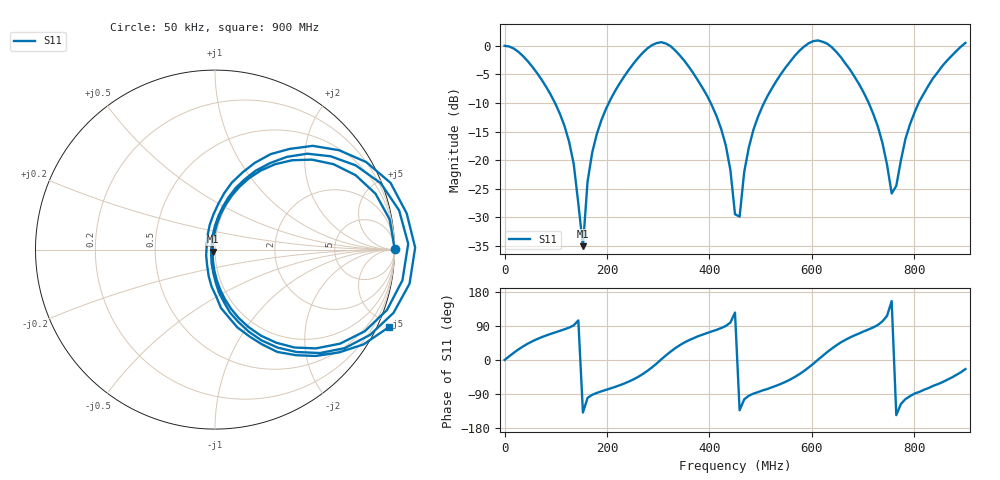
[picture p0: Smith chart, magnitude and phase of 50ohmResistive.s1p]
# HZ S RI R 50
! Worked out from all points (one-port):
!   101 points, 50 kHz to 900 MHz, reference 50 ohm
!   lowest |S11| = -35.1 dB at 153 MHz (marker M1), VSWR 1.04, Z = 48.7 - j1.14 ohm
!   |S11| at or under -10 dB: 98.5 MHz to 203.6 MHz (105.1 MHz wide, 69.6 % of centre); 402.5 MHz to 506.8 MHz (104.2 MHz wide, 22.9 % of centre); 711.3 MHz to 808.7 MHz (97.41 MHz wide, 12.8 % of centre)
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50000  1.001 0.00148
4.50475e7  0.539 0.5014
1.170435e8  0.0309 0.1965
1.350425e8  -0.00224 0.0924
1.530415e8  -0.0133 -0.0117
1.62041e8  -0.0112 -0.0637
1.710405e8  -0.00381 -0.1159
2.250375e8  0.1879 -0.4325
2.70035e8  0.6971 -0.5241
2.970335e8  1.044 -0.1709
3.150325e8  1.026 0.2186
3.42031e8  0.6439 0.52
3.78029e8  0.2263 0.4397
4.230265e8  0.0186 0.1865
4.410255e8  -0.0124 0.081
4.50025e8  -0.0194 0.0275
4.590245e8  -0.0216 -0.0236
4.68024e8  -0.0189 -0.0765
4.950225e8  0.022 -0.239
5.670185e8  0.585 -0.5762
6.12016e8  1.115 0.0111
6.390145e8  0.8421 0.4879
6.750125e8  0.3106 0.5321
7.290095e8  -0.00838 0.1968
7.56008e8  -0.0465 0.0212
7.92006e8  -0.019 -0.2062
8.550025e8  0.3468 -0.57
9e8  0.9694 -0.4315
